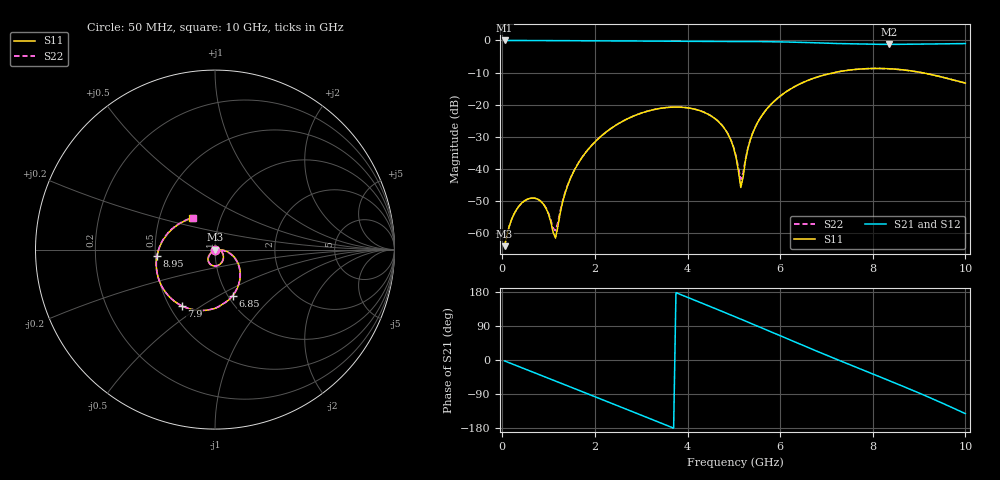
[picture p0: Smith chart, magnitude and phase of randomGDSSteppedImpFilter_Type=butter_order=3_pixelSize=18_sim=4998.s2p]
! freq	dB(S11)	phase(S11)	dB(S12)	phase(S12)
!  dB(S21)	phase(S21)	dB(S22)	phase(S22)
!S-par simulation data
#  GHz  S  DB  R 50
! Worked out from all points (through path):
!   200 points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, 50 MHz to 10 GHz, reference 50 ohm
!   highest |S21| = -0.01 dB at 50 MHz (marker M1); lowest = -1.2 dB at 8.35 GHz (marker M2)
!   group delay of S21, straight-line fit = 139 ps
!   lowest |S11| = -64.1 dB at 50 MHz (marker M3), VSWR 1.00, Z = 50 - j0.044 ohm
!   |S11| at or under -10 dB: start of sweep to 7.184 GHz; 9.045 GHz to end of sweep
!   |S22| runs from -64.1 to -8.7 dB; largest |S21 - S12| = 0
!   S11 on the Smith chart (normalised r, x): 50 MHz: 1.00, -0.00; 6.85 GHz: 1.05, -0.59; 7.9 GHz: 0.58, -0.42; 8.95 GHz: 0.51, -0.04; 10 GHz: 0.73, +0.27
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0.05  -64.13 -45.1  -0.01 -2.5  -0.01 -2.5  -64.13 -45.2
0.25  -54.20 -91.3  -0.02 -12.2  -0.02 -12.2  -54.22 -91.7
0.6  -49.22 -119.7  -0.04 -29.0  -0.04 -29.0  -49.23 -120.9
0.9  -51.29 -143.9  -0.05 -43.5  -0.05 -43.5  -51.21 -147.1
1.15  -61.58 119.6  -0.06 -55.6  -0.06 -55.6  -59.31 120.0
1.4  -45.67 34.4  -0.08 -67.7  -0.08 -67.7  -45.50 38.2
1.75  -35.92 10.3  -0.10 -84.7  -0.10 -84.7  -35.88 12.2
2.5  -26.01 -29.1  -0.15 -121.1  -0.15 -121.1  -25.99 -28.0
3.4  -21.20 -73.4  -0.24 -165.1  -0.24 -165.1  -21.19 -72.5
4.5  -23.46 -125.6  -0.30 140.7  -0.30 140.7  -23.44 -124.1
4.85  -28.62 -139.5  -0.31 123.1  -0.31 123.1  -28.55 -136.8
5.05  -36.59 -138.0  -0.32 113.0  -0.32 113.0  -36.20 -131.8
5.15  -45.83 -84.7  -0.32 107.9  -0.32 107.9  -43.33 -81.9
5.35  -31.25 -2.0  -0.34 97.7  -0.34 97.7  -31.14 -5.7
5.6  -23.54 -8.7  -0.37 84.8  -0.37 84.8  -23.53 -10.3
6.7  -11.90 -61.7  -0.70 28.0  -0.70 28.0  -11.90 -62.2
6.85  -11.19 -69.2  -0.77 20.4  -0.77 20.4  -11.19 -69.6
7.9  -8.78 -120.8  -1.17 -31.9  -1.17 -31.9  -8.78 -121.1
8.35  -8.83 -142.9  -1.22 -54.2  -1.22 -54.2  -8.83 -143.4
8.95  -9.76 -173.6  -1.16 -84.6  -1.16 -84.6  -9.77 -174.3
9.5  -11.43 156.3  -1.05 -113.8  -1.05 -113.8  -11.44 155.1
10  -13.29 126.4  -0.98 -141.6  -0.98 -141.6  -13.29 124.4
